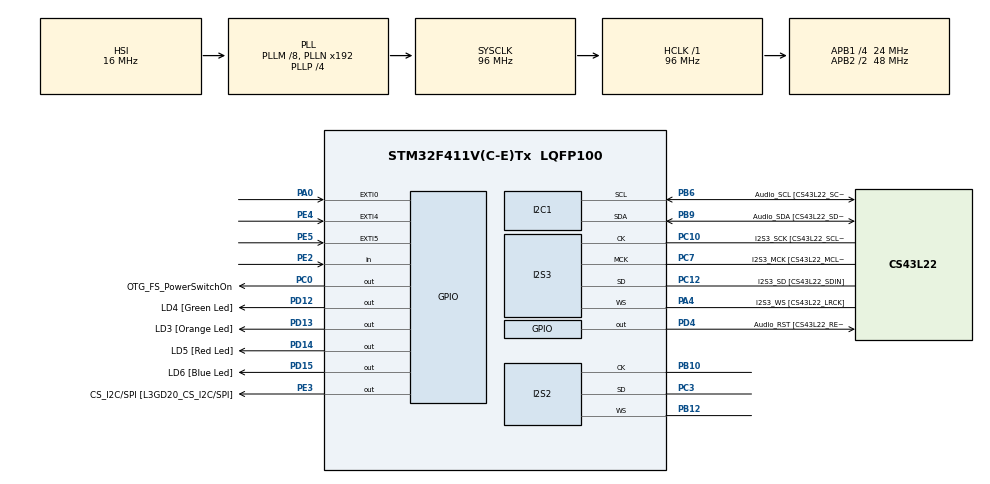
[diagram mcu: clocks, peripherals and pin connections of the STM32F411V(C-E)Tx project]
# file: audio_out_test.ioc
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Dma.Request0=SPI3_TX
Dma.Request1=SPI2_RX
Dma.SPI2_RX.1.Direction=DMA_PERIPH_TO_MEMORY
Dma.SPI2_RX.1.FIFOMode=DMA_FIFOMODE_DISABLE
Dma.SPI2_RX.1.Instance=DMA1_Stream3
Dma.SPI2_RX.1.MemDataAlignment=DMA_MDATAALIGN_HALFWORD
Dma.SPI2_RX.1.MemInc=DMA_MINC_ENABLE
Dma.SPI2_RX.1.Mode=DMA_CIRCULAR
Dma.SPI2_RX.1.PeriphDataAlignment=DMA_PDATAALIGN_HALFWORD
Dma.SPI2_RX.1.PeriphInc=DMA_PINC_DISABLE
Dma.SPI2_RX.1.Priority=DMA_PRIORITY_LOW
Dma.SPI3_TX.0.Direction=DMA_MEMORY_TO_PERIPH
Dma.SPI3_TX.0.FIFOMode=DMA_FIFOMODE_DISABLE
Dma.SPI3_TX.0.Instance=DMA1_Stream5
Dma.SPI3_TX.0.MemDataAlignment=DMA_MDATAALIGN_HALFWORD
Dma.SPI3_TX.0.MemInc=DMA_MINC_ENABLE
Dma.SPI3_TX.0.Mode=DMA_CIRCULAR
Dma.SPI3_TX.0.PeriphDataAlignment=DMA_PDATAALIGN_HALFWORD
Dma.SPI3_TX.0.PeriphInc=DMA_PINC_DISABLE
Dma.SPI3_TX.0.Priority=DMA_PRIORITY_LOW
I2S2.AudioFreq=I2S_AUDIOFREQ_48K
I2S2.DataFormat=I2S_DATAFORMAT_24B
I2S2.ErrorAudioFreq=-1.35 %
I2S2.FullDuplexMode=I2S_FULLDUPLEXMODE_DISABLE
I2S2.Instance=SPI$Index
I2S2.Mode=I2S_MODE_SLAVE_RX
I2S2.RealAudioFreq=47.348 KHz
I2S2.Standard=I2S_STANDARD_MSB
I2S2.VirtualMode=I2S_MODE_SLAVE
I2S3.AudioFreq=I2S_AUDIOFREQ_48K
I2S3.DataFormat=I2S_DATAFORMAT_24B
I2S3.ErrorAudioFreq=-1.35 %
I2S3.FullDuplexMode=I2S_FULLDUPLEXMODE_DISABLE
I2S3.Instance=SPI$Index
I2S3.RealAudioFreq=47.348 KHz
I2S3.VirtualMode=I2S_MODE_MASTER
Mcu.Family=STM32F4
Mcu.Name=STM32F411V(C-E)Tx
Mcu.Package=LQFP100
NVIC.DMA1_Stream3_IRQn=true\:0\:0\:false\:false\:true\:false\:true\:true
NVIC.DMA1_Stream5_IRQn=true\:0\:0\:false\:false\:true\:false\:true\:true
NVIC.PriorityGroup=NVIC_PRIORITYGROUP_0
PA0-WKUP.GPIO_ModeDefaultEXTI=GPIO_MODE_EVT_RISING
PA0-WKUP.Signal=GPXTI0
PA4.GPIO_Label=I2S3_WS [CS43L22_LRCK]
PA4.GPIO_Mode=GPIO_MODE_AF_PP
PA4.GPIO_PuPd=GPIO_NOPULL
PA4.GPIO_Speed=GPIO_SPEED_FREQ_LOW
PA4.Mode=Half_Duplex_Master
PA4.Signal=I2S3_WS
PB10.Mode=Half_Duplex_Slave
PB10.Signal=I2S2_CK
PB12.Mode=Half_Duplex_Slave
PB12.Signal=I2S2_WS
PB6.GPIO_Label=Audio_SCL [CS43L22_SCL]
PB6.GPIO_Mode=GPIO_MODE_AF_OD
PB6.GPIO_PuPd=GPIO_NOPULL
PB6.GPIO_Speed=GPIO_SPEED_FREQ_LOW
PB6.Mode=I2C
PB6.Signal=I2C1_SCL
PB9.GPIO_Label=Audio_SDA [CS43L22_SDA]
PB9.GPIO_Mode=GPIO_MODE_AF_OD
PB9.GPIO_PuPd=GPIO_NOPULL
PB9.GPIO_Speed=GPIO_SPEED_FREQ_LOW
PB9.Mode=I2C
PB9.Signal=I2C1_SDA
PC0.GPIO_Label=OTG_FS_PowerSwitchOn
PC0.PinState=GPIO_PIN_SET
PC0.Signal=GPIO_Output
PC10.GPIO_Label=I2S3_SCK [CS43L22_SCLK]
PC10.GPIO_Mode=GPIO_MODE_AF_PP
PC10.GPIO_PuPd=GPIO_NOPULL
PC10.GPIO_Speed=GPIO_SPEED_FREQ_LOW
PC10.Mode=Half_Duplex_Master
PC10.Signal=I2S3_CK
PC12.GPIO_Label=I2S3_SD [CS43L22_SDIN]
PC12.GPIO_Mode=GPIO_MODE_AF_PP
PC12.GPIO_PuPd=GPIO_NOPULL
PC12.GPIO_Speed=GPIO_SPEED_FREQ_LOW
PC12.Mode=Half_Duplex_Master
PC12.Signal=I2S3_SD
PC14-OSC32_IN.GPIO_Label=PC14-OSC32_IN
PC14-OSC32_IN.Mode=LSE-External-Oscillator
PC14-OSC32_IN.Signal=RCC_OSC32_IN
PC15-OSC32_OUT.GPIO_Label=PC15-OSC32_OUT
PC15-OSC32_OUT.Mode=LSE-External-Oscillator
PC15-OSC32_OUT.Signal=RCC_OSC32_OUT
PC3.Mode=Half_Duplex_Slave
PC3.Signal=I2S2_SD
PC7.GPIO_Label=I2S3_MCK [CS43L22_MCLK]
PC7.GPIO_Mode=GPIO_MODE_AF_PP
PC7.GPIO_PuPd=GPIO_NOPULL
PC7.GPIO_Speed=GPIO_SPEED_FREQ_LOW
PC7.Mode=Master_Clock_Activated
PC7.Signal=I2S3_MCK
PD12.GPIO_Label=LD4 [Green Led]
PD12.GPIO_PuPd=GPIO_NOPULL
PD12.GPIO_Speed=GPIO_SPEED_FREQ_LOW
PD12.Signal=GPIO_Output
PD13.GPIO_Label=LD3 [Orange Led]
PD13.GPIO_PuPd=GPIO_NOPULL
PD13.GPIO_Speed=GPIO_SPEED_FREQ_LOW
PD13.Signal=GPIO_Output
PD14.GPIO_Label=LD5 [Red Led]
PD14.GPIO_PuPd=GPIO_NOPULL
PD14.GPIO_Speed=GPIO_SPEED_FREQ_LOW
PD14.Signal=GPIO_Output
PD15.GPIO_Label=LD6 [Blue Led]
PD15.GPIO_PuPd=GPIO_NOPULL
PD15.GPIO_Speed=GPIO_SPEED_FREQ_LOW
PD15.Signal=GPIO_Output
PD4.GPIO_Label=Audio_RST [CS43L22_RESET]
PD4.Signal=GPIO_Output
PDM2PCM.CHANNEL1_bit_order=PDM_FILTER_BIT_ORDER_MSB
PDM2PCM.CHANNEL1_in_ptr_channels=1
PDM2PCM.CHANNEL1_out_ptr_channels=1
PE2.Signal=GPIO_Input
PE3.GPIO_Label=CS_I2C/SPI [L3GD20_CS_I2C/SPI]
PE3.Signal=GPIO_Output
PE4.GPIO_ModeDefaultEXTI=GPIO_MODE_EVT_RISING
PE4.Signal=GPXTI4
PE5.GPIO_ModeDefaultEXTI=GPIO_MODE_EVT_RISING
PE5.Signal=GPXTI5
PH0\ -\ OSC_IN.GPIO_Label=PH0-OSC_IN
PH0\ -\ OSC_IN.Mode=HSE-External-Oscillator
PH0\ -\ OSC_IN.Signal=RCC_OSC_IN
PH1\ -\ OSC_OUT.GPIO_Label=PH1-OSC_OUT
PH1\ -\ OSC_OUT.Mode=HSE-External-Oscillator
PH1\ -\ OSC_OUT.Signal=RCC_OSC_OUT
ProjectManager.HeapSize=0x200
ProjectManager.StackSize=0x400
ProjectManager.TargetToolchain=STM32CubeIDE
RCC.48MHZClocksFreq_Value=48000000
RCC.AHBFreq_Value=96000000
RCC.APB1CLKDivider=RCC_HCLK_DIV4
RCC.APB1Freq_Value=24000000
RCC.APB1TimFreq_Value=48000000
RCC.APB2CLKDivider=RCC_HCLK_DIV2
RCC.APB2Freq_Value=48000000
RCC.APB2TimFreq_Value=96000000
RCC.CortexFreq_Value=96000000
RCC.HCLKFreq_Value=96000000
RCC.HSE_VALUE=8000000
RCC.HSI_VALUE=16000000
RCC.PLLI2SM=11
RCC.PLLI2SN=200
RCC.PLLI2SR=4
RCC.PLLM=8
RCC.PLLP=RCC_PLLP_DIV4
RCC.PLLQ=8
RCC.SYSCLKFreq_VALUE=96000000
RCC.SYSCLKSource=RCC_SYSCLKSOURCE_PLLCLK
RCC.VCOOutputFreq_Value=384000000
VP_CRC_VS_CRC.Mode=CRC_Activate
VP_PDM2PCM_VS_PDM2PCM.Mode=PDM2PCM_Channel
board=STM32F411E-DISCO

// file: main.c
/* USER CODE BEGIN Header */
/**
  ******************************************************************************
  * @file           : main.c
  * @brief          : Main program body
  ******************************************************************************
  * @attention
  *
  * Copyright (c) 2024 STMicroelectronics.
  * All rights reserved.
  *
  * This software is licensed under terms that can be found in the LICENSE file
  * in the root directory of this software component.
  * If no LICENSE file comes with this software, it is provided AS-IS.
  *
  ******************************************************************************
  */
/* USER CODE END Header */
#include "main.h"
#include "pdm2pcm.h"

/* USER CODE BEGIN Includes */
#include <stdbool.h>
#include "cs43l22.h"
/* USER CODE END Includes */

/* USER CODE BEGIN PD */
#define DMA_BUF_BEGIN	1
#define DMA_BUF_MIDDLE	2
#define DMA_BUFFER_SIZE	64
#define PDM2PCM_OUTPUT_SAMPLES	16
/* USER CODE END PD */

CRC_HandleTypeDef hcrc;

I2C_HandleTypeDef hi2c1;

I2S_HandleTypeDef hi2s2;
I2S_HandleTypeDef hi2s3;
DMA_HandleTypeDef hdma_spi2_rx;
DMA_HandleTypeDef hdma_spi3_tx;

/* USER CODE BEGIN PV */
// I2S DMA buffer
uint16_t i2s_tx_buf[DMA_BUFFER_SIZE*2];		// I2S DMA TX Buffer
uint16_t i2s_rx_buf[DMA_BUFFER_SIZE*2];		// I2S DMA RX Buffer
uint16_t pcm_buf[PDM2PCM_OUTPUT_SAMPLES];	// PDM2PCM buffer
__IO uint8_t tx_buf_sel = 0;				// DMA TX buffer selector
__IO uint8_t rx_buf_sel = 0;				// DMA RX buffer selector

// Fifo Buffer
uint16_t fifo_buf[DMA_BUFFER_SIZE*4];	// RX/TX PCM FIFO buffer in half-words
uint8_t fifo_w_ptr = 0;					// FIFO write pointer
uint8_t fifo_r_ptr = 0;					// FIFO read pointer
uint8_t fifo_ren_flag = false;			// FIFO read enable flag
/* USER CODE END PV */

void SystemClock_Config(void);
void PeriphCommonClock_Config(void);
static void MX_GPIO_Init(void);
static void MX_DMA_Init(void);
static void MX_I2S3_Init(void);
static void MX_I2C1_Init(void);
static void MX_I2S2_Init(void);
static void MX_CRC_Init(void);
/* USER CODE BEGIN PFP */
void fifo_write(uint16_t data);
uint16_t fifo_read(void);
/* USER CODE END PFP */

int main(void)
{

  /* MCU Configuration--------------------------------------------------------*/

  /* Reset of all peripherals, Initializes the Flash interface and the Systick. */
  HAL_Init();

  /* Configure the system clock */
  SystemClock_Config();

/* Configure the peripherals common clocks */
  PeriphCommonClock_Config();

  /* Initialize all configured peripherals */
  MX_GPIO_Init();
  MX_DMA_Init();
  MX_I2S3_Init();
  MX_I2C1_Init();
  MX_I2S2_Init();
  MX_CRC_Init();
  MX_PDM2PCM_Init();
  /* USER CODE BEGIN 2 */
  // CS43L22 Init
  MX_CS43L22_Init(&hi2s3, &hi2c1, CS43L22_MODE_I2S);
  HAL_CS43L22_Set_Channel(CS43L22_CHANNEL_RIGHT_LEFT);
  HAL_CS43L22_Set_Volume(100);
  HAL_CS43L22_Start();

  // I2S3/I2S2 DMA start
  // 24-bits per sample in a 32-bit frame stored in half-word data (16-bits)
  // 64 samples in 32-bit frame
  // txBuf & pdmRxBuf are 16-bits buffers, therefore they have a capacity of DMA_BUFFER_SIZE*2
  HAL_I2S_Transmit_DMA(&hi2s3, &i2s_tx_buf[0], DMA_BUFFER_SIZE);
  HAL_I2S_Receive_DMA(&hi2s2, &i2s_rx_buf[0],  DMA_BUFFER_SIZE);
  // I2S_BIT_DEPTH = 32
  // I2S_NUM_CHANNELS = 2
  // F_BCLK = I2S_SAMPLE_RATE*I2S_BIT_DEPTH*I2S_NUM_CHANNELS
  // 		= 3,072,000 [Hz] < 3,250,000 [Hz] (MAX)
  // PDM_DEC = 64
  // PCM_FS = PDM_FS/PDM_DEC = 48KHz
  /* USER CODE END 2 */

  /* Infinite loop */
  /* USER CODE BEGIN WHILE */
  while (1)
  {
	  	// PDM2PCM conversion
		if (rx_buf_sel==DMA_BUF_BEGIN)	// DMA RX half buffer filled
		{
			// Apply downsample at a factor of 64
			PDM_Filter(&i2s_rx_buf[0], &pcm_buf[0], &PDM1_filter_handler);
			for (int i = 0; i < PDM2PCM_OUTPUT_SAMPLES; i++)
			{
				fifo_write(pcm_buf[i]);
			}
			if (fifo_w_ptr - fifo_r_ptr > DMA_BUFFER_SIZE*2) fifo_ren_flag = true;	// 64 samples are written
			rx_buf_sel = 0;	// Clear rx selector
		} else if (rx_buf_sel==DMA_BUF_MIDDLE)	// DMA RX full buffer filled
		{
			PDM_Filter(&i2s_rx_buf[DMA_BUFFER_SIZE], &pcm_buf[0], &PDM1_filter_handler);
			for (int i = 0; i < PDM2PCM_OUTPUT_SAMPLES; i++)
			{
				fifo_write(pcm_buf[i]);
			}
			rx_buf_sel = 0;	// Clear rx selector
		}

		// TX process
		if (tx_buf_sel==DMA_BUF_BEGIN)	// DMA TX half buffer filled
		{
			if (fifo_ren_flag)
			{
				for (int i = 0; i < DMA_BUFFER_SIZE;i=i+4)
				{
					// Read data from fifo
					uint16_t data = fifo_read();

					// Sample is 24-bit on 32-bits data
					// PCM output is 16-bit and is the MSBytes
					// Of each sample
					i2s_tx_buf[i] = data;	// Right channel
					i2s_tx_buf[i+2] = data;	// Left channel
				}
			}
			tx_buf_sel = 0;
		} else if (tx_buf_sel==DMA_BUF_MIDDLE) // DMA TX full buffer filled
		{
			if (fifo_ren_flag)
			{
				// L/R channel data (32-bits per channel)
				for (int i=DMA_BUFFER_SIZE; i<DMA_BUFFER_SIZE*2; i+=4)
				{
					// Read data from fifo
					uint16_t data = fifo_read();

					// Sample is 24-bit on 32-bits data
					// PCM output is 16-bit and is the MSBytes
					// Of each sample
					i2s_tx_buf[i] = data;	// Right channel
					i2s_tx_buf[i+2] = data;	// Left channel
				}
			}
			tx_buf_sel = 0;
		}
    /* USER CODE END WHILE */
  }
}

void SystemClock_Config(void)
{
  RCC_OscInitTypeDef RCC_OscInitStruct = {0};
  RCC_ClkInitTypeDef RCC_ClkInitStruct = {0};

  /** Configure the main internal regulator output voltage
  */
  __HAL_RCC_PWR_CLK_ENABLE();
  __HAL_PWR_VOLTAGESCALING_CONFIG(PWR_REGULATOR_VOLTAGE_SCALE1);

  /** Initializes the RCC Oscillators according to the specified parameters
  * in the RCC_OscInitTypeDef structure.
  */
  RCC_OscInitStruct.OscillatorType = RCC_OSCILLATORTYPE_HSI;
  RCC_OscInitStruct.HSIState = RCC_HSI_ON;
  RCC_OscInitStruct.HSICalibrationValue = RCC_HSICALIBRATION_DEFAULT;
  RCC_OscInitStruct.PLL.PLLState = RCC_PLL_ON;
  RCC_OscInitStruct.PLL.PLLSource = RCC_PLLSOURCE_HSI;
  RCC_OscInitStruct.PLL.PLLM = 8;
  RCC_OscInitStruct.PLL.PLLN = 192;
  RCC_OscInitStruct.PLL.PLLP = RCC_PLLP_DIV4;
  RCC_OscInitStruct.PLL.PLLQ = 8;
  if (HAL_RCC_OscConfig(&RCC_OscInitStruct) != HAL_OK)
  {
    Error_Handler();
  }

  /** Initializes the CPU, AHB and APB buses clocks
  */
  RCC_ClkInitStruct.ClockType = RCC_CLOCKTYPE_HCLK|RCC_CLOCKTYPE_SYSCLK
                              |RCC_CLOCKTYPE_PCLK1|RCC_CLOCKTYPE_PCLK2;
  RCC_ClkInitStruct.SYSCLKSource = RCC_SYSCLKSOURCE_PLLCLK;
  RCC_ClkInitStruct.AHBCLKDivider = RCC_SYSCLK_DIV1;
  RCC_ClkInitStruct.APB1CLKDivider = RCC_HCLK_DIV4;
  RCC_ClkInitStruct.APB2CLKDivider = RCC_HCLK_DIV2;

  if (HAL_RCC_ClockConfig(&RCC_ClkInitStruct, FLASH_LATENCY_3) != HAL_OK)
  {
    Error_Handler();
  }
}

void PeriphCommonClock_Config(void)
{
  RCC_PeriphCLKInitTypeDef PeriphClkInitStruct = {0};

  /** Initializes the peripherals clock
  */
  PeriphClkInitStruct.PeriphClockSelection = RCC_PERIPHCLK_I2S;
  PeriphClkInitStruct.PLLI2S.PLLI2SN = 200;
  PeriphClkInitStruct.PLLI2S.PLLI2SM = 11;
  PeriphClkInitStruct.PLLI2S.PLLI2SR = 4;
  if (HAL_RCCEx_PeriphCLKConfig(&PeriphClkInitStruct) != HAL_OK)
  {
    Error_Handler();
  }
}

static void MX_CRC_Init(void)
{

  hcrc.Instance = CRC;
  if (HAL_CRC_Init(&hcrc) != HAL_OK)
  {
    Error_Handler();
  }
  __HAL_CRC_DR_RESET(&hcrc);

}

static void MX_I2C1_Init(void)
{

  hi2c1.Instance = I2C1;
  hi2c1.Init.ClockSpeed = 100000;
  hi2c1.Init.DutyCycle = I2C_DUTYCYCLE_2;
  hi2c1.Init.OwnAddress1 = 0;
  hi2c1.Init.AddressingMode = I2C_ADDRESSINGMODE_7BIT;
  hi2c1.Init.DualAddressMode = I2C_DUALADDRESS_DISABLE;
  hi2c1.Init.OwnAddress2 = 0;
  hi2c1.Init.GeneralCallMode = I2C_GENERALCALL_DISABLE;
  hi2c1.Init.NoStretchMode = I2C_NOSTRETCH_DISABLE;
  if (HAL_I2C_Init(&hi2c1) != HAL_OK)
  {
    Error_Handler();
  }

}

static void MX_I2S2_Init(void)
{

  hi2s2.Instance = SPI2;
  hi2s2.Init.Mode = I2S_MODE_SLAVE_RX;
  hi2s2.Init.Standard = I2S_STANDARD_MSB;
  hi2s2.Init.DataFormat = I2S_DATAFORMAT_24B;
  hi2s2.Init.MCLKOutput = I2S_MCLKOUTPUT_DISABLE;
  hi2s2.Init.AudioFreq = I2S_AUDIOFREQ_48K;
  hi2s2.Init.CPOL = I2S_CPOL_LOW;
  hi2s2.Init.ClockSource = I2S_CLOCK_PLL;
  hi2s2.Init.FullDuplexMode = I2S_FULLDUPLEXMODE_DISABLE;
  if (HAL_I2S_Init(&hi2s2) != HAL_OK)
  {
    Error_Handler();
  }

}

static void MX_I2S3_Init(void)
{

  hi2s3.Instance = SPI3;
  hi2s3.Init.Mode = I2S_MODE_MASTER_TX;
  hi2s3.Init.Standard = I2S_STANDARD_PHILIPS;
  hi2s3.Init.DataFormat = I2S_DATAFORMAT_24B;
  hi2s3.Init.MCLKOutput = I2S_MCLKOUTPUT_ENABLE;
  hi2s3.Init.AudioFreq = I2S_AUDIOFREQ_48K;
  hi2s3.Init.CPOL = I2S_CPOL_LOW;
  hi2s3.Init.ClockSource = I2S_CLOCK_PLL;
  hi2s3.Init.FullDuplexMode = I2S_FULLDUPLEXMODE_DISABLE;
  if (HAL_I2S_Init(&hi2s3) != HAL_OK)
  {
    Error_Handler();
  }

}

static void MX_DMA_Init(void)
{

  /* DMA controller clock enable */
  __HAL_RCC_DMA1_CLK_ENABLE();

  /* DMA interrupt init */
  /* DMA1_Stream3_IRQn interrupt configuration */
  HAL_NVIC_SetPriority(DMA1_Stream3_IRQn, 0, 0);
  HAL_NVIC_EnableIRQ(DMA1_Stream3_IRQn);
  /* DMA1_Stream5_IRQn interrupt configuration */
  HAL_NVIC_SetPriority(DMA1_Stream5_IRQn, 0, 0);
  HAL_NVIC_EnableIRQ(DMA1_Stream5_IRQn);

}

static void MX_GPIO_Init(void)
{
  GPIO_InitTypeDef GPIO_InitStruct = {0};

  /* GPIO Ports Clock Enable */
  __HAL_RCC_GPIOE_CLK_ENABLE();
  __HAL_RCC_GPIOC_CLK_ENABLE();
  __HAL_RCC_GPIOH_CLK_ENABLE();
  __HAL_RCC_GPIOA_CLK_ENABLE();
  __HAL_RCC_GPIOB_CLK_ENABLE();
  __HAL_RCC_GPIOD_CLK_ENABLE();

  /*Configure GPIO pin Output Level */
  HAL_GPIO_WritePin(CS_I2C_SPI_GPIO_Port, CS_I2C_SPI_Pin, GPIO_PIN_RESET);

  /*Configure GPIO pin Output Level */
  HAL_GPIO_WritePin(OTG_FS_PowerSwitchOn_GPIO_Port, OTG_FS_PowerSwitchOn_Pin, GPIO_PIN_SET);

  /*Configure GPIO pin Output Level */
  HAL_GPIO_WritePin(GPIOD, LD4_Pin|LD3_Pin|LD5_Pin|LD6_Pin
                          |Audio_RST_Pin, GPIO_PIN_RESET);

  /*Configure GPIO pin : PE2 */
  GPIO_InitStruct.Pin = GPIO_PIN_2;
  GPIO_InitStruct.Mode = GPIO_MODE_INPUT;
  GPIO_InitStruct.Pull = GPIO_NOPULL;
  HAL_GPIO_Init(GPIOE, &GPIO_InitStruct);

  /*Configure GPIO pin : CS_I2C_SPI_Pin */
  GPIO_InitStruct.Pin = CS_I2C_SPI_Pin;
  GPIO_InitStruct.Mode = GPIO_MODE_OUTPUT_PP;
  GPIO_InitStruct.Pull = GPIO_NOPULL;
  GPIO_InitStruct.Speed = GPIO_SPEED_FREQ_LOW;
  HAL_GPIO_Init(CS_I2C_SPI_GPIO_Port, &GPIO_InitStruct);

  /*Configure GPIO pins : PE4 PE5 */
  GPIO_InitStruct.Pin = GPIO_PIN_4|GPIO_PIN_5;
  GPIO_InitStruct.Mode = GPIO_MODE_EVT_RISING;
  GPIO_InitStruct.Pull = GPIO_NOPULL;
  HAL_GPIO_Init(GPIOE, &GPIO_InitStruct);

  /*Configure GPIO pin : OTG_FS_PowerSwitchOn_Pin */
  GPIO_InitStruct.Pin = OTG_FS_PowerSwitchOn_Pin;
  GPIO_InitStruct.Mode = GPIO_MODE_OUTPUT_PP;
  GPIO_InitStruct.Pull = GPIO_NOPULL;
  GPIO_InitStruct.Speed = GPIO_SPEED_FREQ_LOW;
  HAL_GPIO_Init(OTG_FS_PowerSwitchOn_GPIO_Port, &GPIO_InitStruct);

  /*Configure GPIO pin : PA0 */
  GPIO_InitStruct.Pin = GPIO_PIN_0;
  GPIO_InitStruct.Mode = GPIO_MODE_EVT_RISING;
  GPIO_InitStruct.Pull = GPIO_NOPULL;
  HAL_GPIO_Init(GPIOA, &GPIO_InitStruct);

  /*Configure GPIO pins : LD4_Pin LD3_Pin LD5_Pin LD6_Pin
                           Audio_RST_Pin */
  GPIO_InitStruct.Pin = LD4_Pin|LD3_Pin|LD5_Pin|LD6_Pin
                          |Audio_RST_Pin;
  GPIO_InitStruct.Mode = GPIO_MODE_OUTPUT_PP;
  GPIO_InitStruct.Pull = GPIO_NOPULL;
  GPIO_InitStruct.Speed = GPIO_SPEED_FREQ_LOW;
  HAL_GPIO_Init(GPIOD, &GPIO_InitStruct);

}

/* USER CODE BEGIN 4 */

void fifo_write(uint16_t data)
{
	fifo_buf[fifo_w_ptr] = data;
	fifo_w_ptr++;
}

uint16_t fifo_read(void)
{
	uint16_t val = fifo_buf[fifo_r_ptr];
	fifo_r_ptr++;
	return val;
}

void HAL_I2S_TxHalfCpltCallback (I2S_HandleTypeDef *hi2s) {
	tx_buf_sel = DMA_BUF_BEGIN;
}

void HAL_I2S_TxCpltCallback (I2S_HandleTypeDef *hi2s) {
	tx_buf_sel = DMA_BUF_MIDDLE;
}

void HAL_I2S_RxHalfCpltCallback (I2S_HandleTypeDef *hi2s) {
	rx_buf_sel = DMA_BUF_BEGIN;
}

void HAL_I2S_RxCpltCallback (I2S_HandleTypeDef *hi2s) {
	rx_buf_sel = DMA_BUF_MIDDLE;
}
/* USER CODE END 4 */

void Error_Handler(void)
{
  __disable_irq();
  while (1)
  {
  }
}
